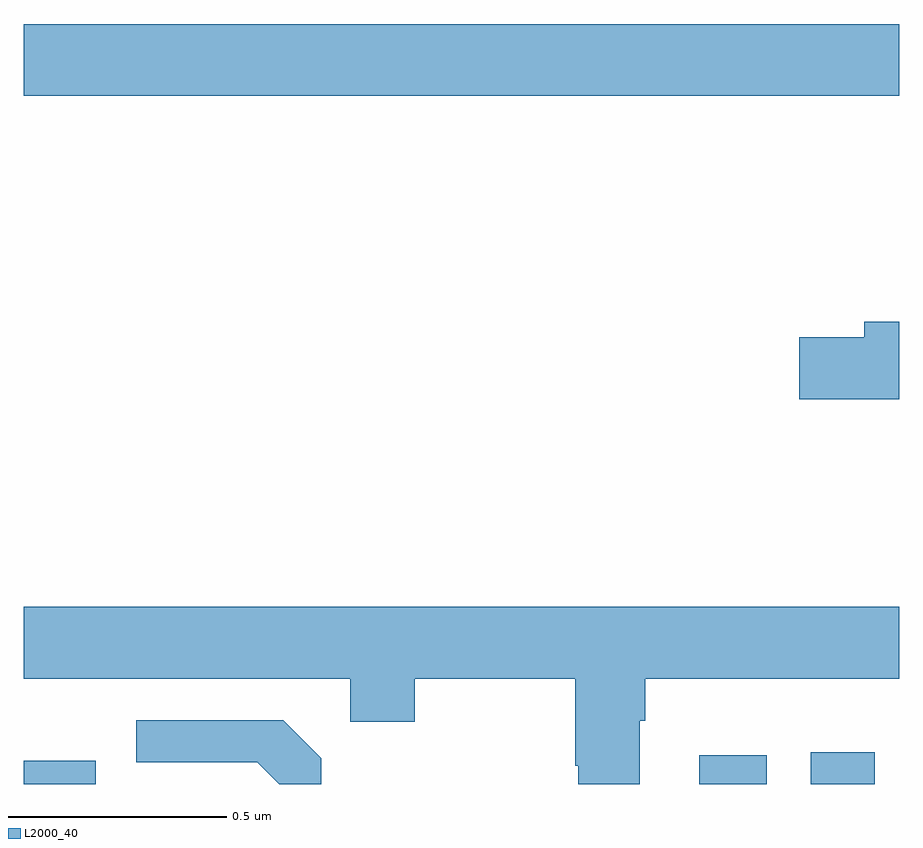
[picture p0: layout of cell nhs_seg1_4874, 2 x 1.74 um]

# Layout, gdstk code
import gdstk
lib = gdstk.Library(unit=1e-6, precision=1e-09)
def R(c, l, rs):  # rectangles x0, y0, x1, y1
    for r in rs: c.add(gdstk.rectangle(r[:2], r[2:], *l))
def P(c, l, *ps):  # polygons
    for p in ps: c.add(gdstk.Polygon(p, *l))
L2000_40 = (2000, 40)

nhs_seg1_4874 = lib.new_cell('nhs_seg1_4874')
R(nhs_seg1_4874, L2000_40, [(172,510.199,172.164,510.252), (173.543,510.199,173.698,510.265), (173.798,510.199,173.944,510.271), (172,511.772,174,511.936)])
P(nhs_seg1_4874, L2000_40, [(174,511.256),(173.921,511.256),(173.921,511.22),(173.772,511.22),(173.772,511.078),(174,511.078)],
  [(173.407,510.344),(173.42,510.344),(173.42,510.44),(174,510.44),(174,510.604),(172,510.604),(172,510.44),(172.746,510.44),(172.746,510.341),(172.893,510.341),(172.893,510.44),(173.26,510.44),(173.26,510.241),(173.267,510.241),(173.267,510.199),(173.407,510.199)],
  [(172.68,510.258),(172.593,510.345),(172.257,510.345),(172.257,510.249),(172.533,510.249),(172.583,510.199),(172.68,510.199)])

lib.write_gds('nhs_seg1_4874.gds')
